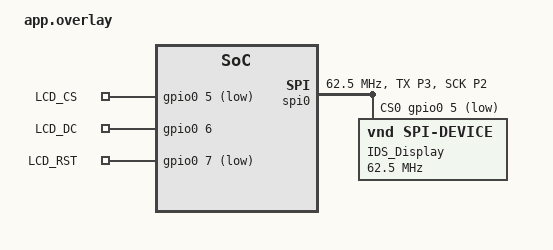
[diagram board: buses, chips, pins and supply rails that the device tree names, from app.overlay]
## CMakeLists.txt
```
cmake_minimum_required(VERSION 3.20.0)
find_package(Zephyr REQUIRED HINTS $ENV{ZEPHYR_BASE})
project(zephyr_scanner)

target_sources(app PRIVATE src/main.c)
```

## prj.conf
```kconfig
CONFIG_SPI=y
CONFIG_GPIO=y
CONFIG_LOG=y

# Networking
CONFIG_NETWORKING=y
CONFIG_NET_L2_ETHERNET=y
CONFIG_NET_OFFLOAD=y
CONFIG_WIFI=y
CONFIG_NET_IPV4=y
CONFIG_NET_UDP=y
CONFIG_NET_SOCKETS=y

# Random Number Generator (Required for Networking)
CONFIG_TEST_RANDOM_GENERATOR=y
CONFIG_ENTROPY_DEVICE_RANDOM_GENERATOR=y

# Optimization
CONFIG_SPEED_OPTIMIZATIONS=y
CONFIG_ISR_STACK_SIZE=2048
CONFIG_MAIN_STACK_SIZE=4096

# Memory
CONFIG_HEAP_MEM_POOL_SIZE=4096

# LED Strip
CONFIG_LED_STRIP=y
CONFIG_WS2812_STRIP_RPI_PICO_PIO=y
```

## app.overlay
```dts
/*
 * Copyright (c) 2024 D16 Core
 * Overlay for RPi Pico W + ST7796SU1 Shield
 */

#include <zephyr/dt-bindings/led/led.h>

/ {
    chosen {
        zephyr,display = &st7796_spi;
    };

    aliases {
        // led-strip = &ws2812; // Moved to root
    };

    /* Define GPIOs for Bit-Banging or Control Signals */
    resources {
        compatible = "gpio-keys";
        lcd_cs: lcd_cs {
            gpios = <&gpio0 5 GPIO_ACTIVE_LOW>;
            label = "LCD_CS";
        };
        lcd_dc: lcd_dc {
            gpios = <&gpio0 6 GPIO_ACTIVE_HIGH>;
            label = "LCD_DC";
        };
        lcd_rst: lcd_rst {
            gpios = <&gpio0 7 GPIO_ACTIVE_LOW>;
            label = "LCD_RST";
        };
    };
};

&spi0 {
    status = "okay";
    clock-frequency = <62500000>; /* 62.5 MHz */
    pinctrl-0 = <&spi0_default>;
    pinctrl-names = "default";
    cs-gpios = <&gpio0 5 GPIO_ACTIVE_LOW>;

    st7796_spi: st7796@0 {
        compatible = "vnd,spi-device";
        reg = <0>;
        spi-max-frequency = <62500000>;
        label = "IDS_Display";
    };
};

&pinctrl {
    spi0_default: spi0_default {
        group1 {
            pinmux = <SPI0_TX_P3>, <SPI0_SCK_P2>; /* MOSI=GP3, SCK=GP2 */
        };
    };
};

/* 
 * WS2812 via SPI MOSI is standard, but we are using GPIO 14.
 * RP2040 PIO driver is best.
 * `zephyr,ws2812-rpi-pico-pio` requires pinctrl (PIO0_P14).
 */

&pio0 {
    status = "okay";

    ws2812_pio: ws2812_pio {
        compatible = "worldsemi,ws2812-rpi_pico-pio";
        status = "okay";
        pinctrl-0 = <&ws2812_pio0_default>;
        pinctrl-names = "default";
        bit-waveform = <3>, <3>, <4>;

        ws2812_strip: ws2812_strip {
            status = "okay";
            gpios = <&gpio0 12 GPIO_ACTIVE_HIGH>;
            chain-length = <1>;
            color-mapping = <LED_COLOR_ID_GREEN
                             LED_COLOR_ID_RED
                             LED_COLOR_ID_BLUE>;
            reset-delay = <280>;
            frequency = <800000>;
        };
    };
};

/ {
    aliases {
        led-strip = &ws2812_strip;
    };
};

&pinctrl {
    ws2812_pio0_default: ws2812_pio0_default {
        group1 {
             pinmux = <PIO0_P12>;
        };
    };
};
```

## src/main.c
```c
/*
 * Copyright (c) 2024 D16 Core
 * Zephyr Port of d16_scanner (Pico W + ST7796 + WS2812)
 */

#include <zephyr/kernel.h>
#include <zephyr/device.h>
#include <zephyr/drivers/spi.h>
#include <zephyr/drivers/gpio.h>
#include <zephyr/logging/log.h>
#include <zephyr/net/net_if.h>
#include <zephyr/net/wifi_mgmt.h>
#include <zephyr/net/socket.h>

#include <math.h>
#include <stdlib.h>
#include <stdio.h>

LOG_MODULE_REGISTER(d16_scanner, LOG_LEVEL_INF);

// --- Configuration ---
#define WIFI_SSID "d16"
#define WIFI_PSK  "spectralCalculus"
#define UDP_PORT  5005

#define SCREEN_WIDTH  480
#define SCREEN_HEIGHT 320

#define SCANNER_STACK_SIZE 2048
#define SCANNER_PRIORITY   5
#define constrain(amt,low,high) ((amt)<(low)?(low):((amt)>(high)?(high):(amt)))

// --- Hardware Definitions ---
const struct device *spi_dev;


struct spi_config spi_cfg = {
    .frequency = 62500000,
    .operation = SPI_OP_MODE_MASTER | SPI_WORD_SET(8) | SPI_TRANSFER_MSB,
    .slave = 0,
    .cs = NULL, 
};

static const struct gpio_dt_spec lcd_dc = GPIO_DT_SPEC_GET(DT_NODELABEL(lcd_dc), gpios);
static const struct gpio_dt_spec lcd_rst = GPIO_DT_SPEC_GET(DT_NODELABEL(lcd_rst), gpios);
static const struct gpio_dt_spec lcd_cs = GPIO_DT_SPEC_GET(DT_NODELABEL(lcd_cs), gpios);

// --- Globals ---
static uint8_t line_buffer[SCREEN_WIDTH * 2];
static struct net_mgmt_event_callback wifi_cb;
static int16_t current_rssi = -90; 

typedef struct {
    float phase;
    float freq;
    float amp;
    float damping;
} Pendulum;

// --- Carrier Bandwidth Designations (The Isomorphic Bridge) ---
typedef enum {
    BANDWIDTH_ALPHA = 0, // Reconnaissance & High-Frequency
    BANDWIDTH_BETA  = 1, // Synthesis & Contextualization
    BANDWIDTH_GAMMA = 2, // Centroid Math (Zoro/Wooten Anchor)
    BANDWIDTH_THETA = 3  // Latent Void / Battery (Law 4096 Anchor)
} BandwidthFrequency;

// Global Pendula
static Pendulum px1 = { .phase = 0, .freq = 3.00f, .amp = 0, .damping = 0.999f };
static Pendulum px2 = { .phase = 0, .freq = 2.01f, .amp = 0, .damping = 0.998f };
static Pendulum py1 = { .phase = 0, .freq = 3.00f, .amp = 0, .damping = 0.999f };
static Pendulum py2 = { .phase = 1.5f, .freq = 2.00f, .amp = 0, .damping = 0.998f };

// --- Thread Definitions ---
struct k_thread scanner_thread_data;
K_THREAD_STACK_DEFINE(scanner_stack, SCANNER_STACK_SIZE);

// --- Helper Functions ---



static void cs_select(void) {
    gpio_pin_set_dt(&lcd_cs, 1); 
}

static void cs_deselect(void) {
    gpio_pin_set_dt(&lcd_cs, 0);
}

static void lcd_write_cmd(uint8_t cmd) {
    struct spi_buf tx_buf = { .buf = &cmd, .len = 1 };
    struct spi_buf_set tx = { .buffers = &tx_buf, .count = 1 };

    gpio_pin_set_dt(&lcd_dc, 0); // Command
    cs_select();
    spi_write(spi_dev, &spi_cfg, &tx);
    cs_deselect();
}

static void lcd_write_data(uint8_t *data, size_t len) {
    struct spi_buf tx_buf = { .buf = data, .len = len };
    struct spi_buf_set tx = { .buffers = &tx_buf, .count = 1 };

    gpio_pin_set_dt(&lcd_dc, 1); // Data
    cs_select();
    spi_write(spi_dev, &spi_cfg, &tx);
    cs_deselect();
}

void lcd_set_window(uint16_t x0, uint16_t y0, uint16_t x1, uint16_t y1) {
    lcd_write_cmd(0x2A);
    uint8_t data_x[] = { (x0 >> 8) & 0xFF, x0 & 0xFF, (x1 >> 8) & 0xFF, x1 & 0xFF };
    lcd_write_data(data_x, 4);

    lcd_write_cmd(0x2B);
    uint8_t data_y[] = { (y0 >> 8) & 0xFF, y0 & 0xFF, (y1 >> 8) & 0xFF, y1 & 0xFF };
    lcd_write_data(data_y, 4);

    lcd_write_cmd(0x2C);
}

void lcd_fill_rect(uint16_t x, uint16_t y, uint16_t w, uint16_t h, uint16_t color) {
    if (x >= SCREEN_WIDTH || y >= SCREEN_HEIGHT) return;
    if (x + w > SCREEN_WIDTH) w = SCREEN_WIDTH - x;
    if (y + h > SCREEN_HEIGHT) h = SCREEN_HEIGHT - y;

    lcd_set_window(x, y, x + w - 1, y + h - 1);

    for (int i = 0; i < w; i++) {
        line_buffer[i*2] = (color >> 8) & 0xFF;
        line_buffer[i*2 + 1] = color & 0xFF;
    }

    struct spi_buf tx_buf = { .buf = line_buffer, .len = w * 2 };
    struct spi_buf_set tx = { .buffers = &tx_buf, .count = 1 };

    gpio_pin_set_dt(&lcd_dc, 1);
    cs_select();
    for (int j = 0; j < h; j++) {
        spi_write(spi_dev, &spi_cfg, &tx);
    }
    cs_deselect();
}

void lcd_pixel(uint16_t x, uint16_t y, uint16_t color) {
    lcd_fill_rect(x, y, 1, 1, color);
}

void lcd_draw_line(int x0, int y0, int x1, int y1, uint16_t color) {
    int dx = abs(x1 - x0), sx = x0 < x1 ? 1 : -1;
    int dy = -abs(y1 - y0), sy = y0 < y1 ? 1 : -1;
    int err = dx + dy, e2;

    while (1) {
        lcd_pixel(x0, y0, color);
        if (x0 == x1 && y0 == y1) break;
        e2 = 2 * err;
        if (e2 >= dy) { err += dy; x0 += sx; }
        if (e2 <= dx) { err += dx; y0 += sy; }
    }
}

void st7796_init(void) {
    LOG_INF("Initializing ST7796...");
    
    // Hard Reset
    gpio_pin_set_dt(&lcd_rst, 1); k_msleep(50);
    gpio_pin_set_dt(&lcd_rst, 0); k_msleep(50);
    gpio_pin_set_dt(&lcd_rst, 1); k_msleep(100);
    gpio_pin_set_dt(&lcd_rst, 0); k_msleep(50);
    gpio_pin_set_dt(&lcd_rst, 1); k_msleep(50);
    gpio_pin_set_dt(&lcd_rst, 0); k_msleep(100);

    // Init Commands (Combined)
    lcd_write_cmd(0xCF); lcd_write_data((uint8_t[]){0x00, 0x83, 0x30}, 3);
    lcd_write_cmd(0xED); lcd_write_data((uint8_t[]){0x64, 0x03, 0x12, 0x81}, 4);
    lcd_write_cmd(0xE8); lcd_write_data((uint8_t[]){0x85, 0x01, 0x79}, 3);
    lcd_write_cmd(0xCB); lcd_write_data((uint8_t[]){0x39, 0x2C, 0x00, 0x34, 0x02}, 5);
    lcd_write_cmd(0xF7); lcd_write_data((uint8_t[]){0x20}, 1);
    lcd_write_cmd(0xEA); lcd_write_data((uint8_t[]){0x00, 0x00}, 2);
    
    lcd_write_cmd(0xC0); lcd_write_data((uint8_t[]){0x26}, 1);
    lcd_write_cmd(0xC1); lcd_write_data((uint8_t[]){0x11}, 1);
    lcd_write_cmd(0xC5); lcd_write_data((uint8_t[]){0x35, 0x3E}, 2);
    lcd_write_cmd(0xC7); lcd_write_data((uint8_t[]){0xBE}, 1);
    
    lcd_write_cmd(0x36); lcd_write_data((uint8_t[]){0xE8}, 1); 
    lcd_write_cmd(0x3A); lcd_write_data((uint8_t[]){0x05}, 1);
    
    lcd_write_cmd(0xB1); lcd_write_data((uint8_t[]){0x00, 0x1B}, 2);
    lcd_write_cmd(0xF2); lcd_write_data((uint8_t[]){0x08}, 1);
    lcd_write_cmd(0x26); lcd_write_data((uint8_t[]){0x01}, 1);
    
    lcd_write_cmd(0xE0); lcd_write_data((uint8_t[]){0x1F, 0x1A, 0x18, 0x0A, 0x0F, 0x06, 0x45, 0x87, 0x32, 0x0A, 0x07, 0x02, 0x07, 0x05, 0x00}, 15);
    lcd_write_cmd(0xE1); lcd_write_data((uint8_t[]){0x00, 0x25, 0x27, 0x05, 0x10, 0x09, 0x3A, 0x78, 0x4D, 0x05, 0x18, 0x0D, 0x38, 0x3A, 0x1F}, 15);
    
    lcd_write_cmd(0xB7); lcd_write_data((uint8_t[]){0x07}, 1);
    lcd_write_cmd(0xB6); lcd_write_data((uint8_t[]){0x0A, 0x82, 0x27, 0x00}, 4);
    
    lcd_write_cmd(0x11); k_msleep(120);
    lcd_write_cmd(0x29); k_msleep(120);
    lcd_write_cmd(0x21);
    
    LOG_INF("ST7796 Initialized.");
}

uint16_t color565(uint8_t r, uint8_t g, uint8_t b) {
    return ((r & 0xF8) << 8) | ((g & 0xFC) << 3) | (b >> 3);
}

// --- Network Functions ---

static void wifi_mgmt_event_handler(struct net_mgmt_event_callback *cb,
                                    uint64_t mgmt_event, struct net_if *iface) {
    if (mgmt_event == NET_EVENT_WIFI_CONNECT_RESULT) {
        const struct wifi_status *status = (const struct wifi_status *)cb->info;
        if (status->status) {
            LOG_ERR("Wi-Fi Connection Failed (%d)", status->status);
        } else {
            LOG_INF("Wi-Fi Connected!");
        }
    } else if (mgmt_event == NET_EVENT_IPV4_ADDR_ADD) {
        LOG_INF("IPv4 Address Assigned");
    }
}

static void wifi_connect(void) {
    struct net_if *iface = net_if_get_default();
    struct wifi_connect_req_params params = {
        .ssid = WIFI_SSID,
        .ssid_length = strlen(WIFI_SSID),
        .psk = WIFI_PSK,
        .psk_length = strlen(WIFI_PSK),
        .channel = WIFI_CHANNEL_ANY,
        .security = WIFI_SECURITY_TYPE_PSK,
    };

    net_mgmt_init_event_callback(&wifi_cb, wifi_mgmt_event_handler,
                                 NET_EVENT_WIFI_CONNECT_RESULT | NET_EVENT_IPV4_ADDR_ADD);
    net_mgmt_add_event_callback(&wifi_cb);

    LOG_INF("Connecting to Wi-Fi: %s", WIFI_SSID);
    if (net_mgmt(NET_REQUEST_WIFI_CONNECT, iface, &params, sizeof(params))) {
        LOG_ERR("Wi-Fi Connection Request Failed");
    }
}

static void update_rssi(void) {
    struct net_if *iface = net_if_get_default();
    struct wifi_iface_status status = {0};

    if (net_mgmt(NET_REQUEST_WIFI_IFACE_STATUS, iface, &status, sizeof(status)) == 0) {
        if (status.rssi < 0) {
             current_rssi = status.rssi;
        }
    }
}

// --- Scanner Thread (Network Harmonograph) ---

void scanner_entry(void *p1, void *p2, void *p3) {
    LOG_INF("Core 1: Harmonograph Thread Started!");

    st7796_init();
    lcd_fill_rect(0, 0, SCREEN_WIDTH, SCREEN_HEIGHT, 0x0000);

    // Center & Scale
    float cx = SCREEN_WIDTH / 2.0f;
    float cy = SCREEN_HEIGHT / 2.0f;
    float max_scale = (SCREEN_HEIGHT / 2.0f) - 10.0f;

    int prev_x = -1;
    int prev_y = -1;
    uint32_t frame_count = 0;
    float t_step = 0.05f;

    while (1) {
        // 1. Energy Injection
        float energy_target = 0.0f;
        if (current_rssi > -90) {
            energy_target = constrain((current_rssi + 90.0f) / 60.0f, 0.1f, 1.0f);
        }

        float injection_rate = 0.005f; 
        
        float target_amp_main = max_scale * energy_target;
        float target_amp_sec  = (max_scale * 0.5f) * energy_target;

        // Apply Physics
        px1.amp *= px1.damping;
        px2.amp *= px2.damping;
        py1.amp *= py1.damping;
        py2.amp *= py2.damping;

        if (px1.amp < target_amp_main) px1.amp += (target_amp_main - px1.amp) * injection_rate;
        if (px2.amp < target_amp_sec)  px2.amp += (target_amp_sec  - px2.amp) * injection_rate;
        if (py1.amp < target_amp_main) py1.amp += (target_amp_main - py1.amp) * injection_rate;
        if (py2.amp < target_amp_sec)  py2.amp += (target_amp_sec  - py2.amp) * injection_rate;

        // 2. Compute Position using GLOBAL Pendula
        float x_f = cx + px1.amp * sinf(px1.phase) + px2.amp * sinf(px2.phase);
        float y_f = cy + py1.amp * sinf(py1.phase) + py2.amp * sinf(py2.phase);
        
        // Advance Phases
        px1.phase += px1.freq * t_step;
        px2.phase += px2.freq * t_step;
        py1.phase += py1.freq * t_step;
        py2.phase += py2.freq * t_step;

        int x = (int)x_f;
        int y = (int)y_f;
        


        // 3. Color Logic (Screen)
        uint8_t r = (uint8_t)((1.0f - energy_target) * 255.0f);
        uint8_t g = (uint8_t)(energy_target * 255.0f);
        uint16_t color = color565(r, g, 50); 

        // 4. Draw
        if (prev_x != -1) {
            lcd_draw_line(prev_x, prev_y, x, y, color);
            
            if (frame_count++ > 2000) {
                 lcd_fill_rect(0, 0, SCREEN_WIDTH, SCREEN_HEIGHT, 0x0000);
                 frame_count = 0;
                 prev_x = -1; 
                 continue;
            }
        }

        prev_x = x;
        prev_y = y;

        k_msleep(10); 
    }
}

// --- Main ---

void main(void) {
    LOG_INF("Core 0: System Booting...");
    
    // SPI Setup
    spi_dev = DEVICE_DT_GET(DT_NODELABEL(spi0));
    if (!device_is_ready(spi_dev)) {
        LOG_ERR("SPI0 not ready");
        // Don't return, maybe LED works?
    }
    


    if (!gpio_is_ready_dt(&lcd_cs) || !gpio_is_ready_dt(&lcd_dc) || !gpio_is_ready_dt(&lcd_rst)) {
        LOG_ERR("GPIOs not ready");
        return;
    }
    gpio_pin_configure_dt(&lcd_cs, GPIO_OUTPUT_INACTIVE); 
    gpio_pin_configure_dt(&lcd_dc, GPIO_OUTPUT_ACTIVE);   
    gpio_pin_configure_dt(&lcd_rst, GPIO_OUTPUT_INACTIVE);

    // Spawn Scanner Thread
    k_thread_create(&scanner_thread_data, scanner_stack,
                    K_THREAD_STACK_SIZEOF(scanner_stack),
                    scanner_entry, NULL, NULL, NULL,
                    SCANNER_PRIORITY, 0, K_NO_WAIT);

    k_msleep(1000);
    wifi_connect();
    
    // UDP & RSSI Loop
    int sock;
    struct sockaddr_in addr;
    char buffer[128];

    sock = zsock_socket(AF_INET, SOCK_DGRAM, IPPROTO_UDP);
    addr.sin_family = AF_INET;
    addr.sin_addr.s_addr = INADDR_ANY;
    addr.sin_port = htons(UDP_PORT);
    zsock_bind(sock, (struct sockaddr *)&addr, sizeof(addr));
    
    struct timeval tv = { .tv_sec = 1, .tv_usec = 0 };
    zsock_setsockopt(sock, SOL_SOCKET, SO_RCVTIMEO, &tv, sizeof(tv));
    
    LOG_INF("UDP Listener Ready on %d. Waiting for Hyperjumps...", UDP_PORT);

    while (1) {
        update_rssi();
        
        int len = zsock_recv(sock, buffer, sizeof(buffer) - 1, 0);
        if (len > 0) {
            buffer[len] = '\0';
            if (buffer[0] == 'C') {
                lcd_fill_rect(0, 0, SCREEN_WIDTH, SCREEN_HEIGHT, 0x0000);
            } else if (buffer[0] == 'L') {
                 int x1, y1, x2, y2;
                 unsigned int color;
                 if (sscanf(buffer, "L,%d,%d,%d,%d,%x", &x1, &y1, &x2, &y2, &color) == 5) {
                    lcd_draw_line(x1, y1, x2, y2, (uint16_t)color);
                 }
            } else if (buffer[0] == 'H') {
                // Harmonic Hyperjump: H,f1,f2,f3,f4
                float f1, f2, f3, f4;
                if (sscanf(buffer, "H,%f,%f,%f,%f", &f1, &f2, &f3, &f4) == 4) {
                    px1.freq = f1; px2.freq = f2;
                    py1.freq = f3; py2.freq = f4;
                    px1.phase = 0; px2.phase = 0;
                    py1.phase = 0; py2.phase = 1.5; 
                    
                    lcd_fill_rect(0, 0, SCREEN_WIDTH, SCREEN_HEIGHT, 0x0000);
                    // Standard printf since LOG_INF with floats is tricky on some platforms
                    printf("Hyperjump: %f %f %f %f\n", (double)f1, (double)f2, (double)f3, (double)f4);
                }
            } else if (buffer[0] == 'I') {
                // Isomorphic Bridge Packet: I,Bandwidth,PayloadMag
                int bw;
                float payload_mag;
                if (sscanf(buffer, "I,%d,%f", &bw, &payload_mag) == 2) {
                    BandwidthFrequency freq = (BandwidthFrequency)bw;
                    switch (freq) {
                        case BANDWIDTH_ALPHA:
                            // High-Freq Injection
                            px1.freq += payload_mag * 0.1f;
                            break;
                        case BANDWIDTH_BETA:
                            // Synthesis / Damping
                            px1.damping = 0.999f - (payload_mag * 0.001f);
                            break;
                        case BANDWIDTH_GAMMA:
                            // Centroid Shift (Zoro's Wooten Anchor)
                            px1.phase += payload_mag; // Geometric shift
                            break;
                        case BANDWIDTH_THETA:
                            // Deep Storage / Battery Dump (Law's 4096 Anchor)
                            px1.amp += (payload_mag * 10.0f); // Massive energy dump
                            break;
                    }
                    printf("Isomorphic Injection: Bandwidth %d, Magnitude %f\n", bw, (double)payload_mag);
                }
            }
        }
    }
}
```
